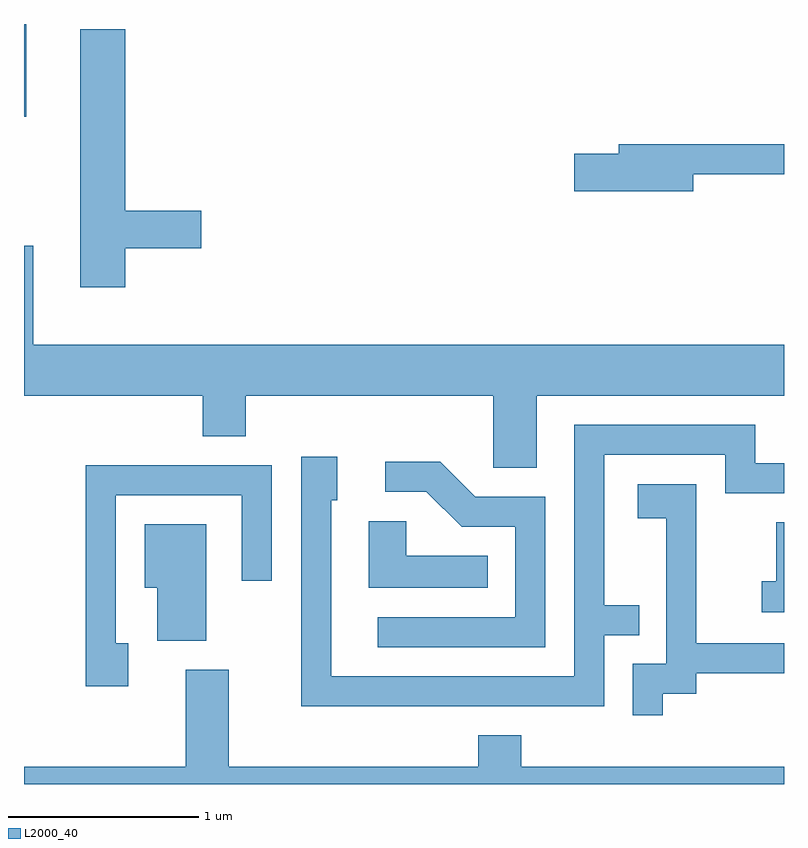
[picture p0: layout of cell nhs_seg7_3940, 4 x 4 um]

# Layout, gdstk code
import gdstk
lib = gdstk.Library(unit=1e-6, precision=1e-09)
def R(c, l, rs):  # rectangles x0, y0, x1, y1
    for r in rs: c.add(gdstk.rectangle(r[:2], r[2:], *l))
def P(c, l, *ps):  # polygons
    for p in ps: c.add(gdstk.Polygon(p, *l))
L2000_40 = (2000, 40)

nhs_seg7_3940 = lib.new_cell('nhs_seg7_3940')
R(nhs_seg7_3940, L2000_40, [(305.611,1735.763,305.624,1736.252)])
P(nhs_seg7_3940, L2000_40, [(306.144,1735.071),(306.544,1735.071),(306.544,1735.269),(306.144,1735.269),(306.144,1736.224),(305.906,1736.224),(305.906,1734.866),(306.144,1734.866)],
  [(309.134,1735.461),(309.611,1735.461),(309.611,1735.619),(308.741,1735.619),(308.741,1735.569),(308.506,1735.569),(308.506,1735.371),(309.134,1735.371)],
  [(305.611,1735.084),(305.611,1734.296),(306.551,1734.296),(306.551,1734.081),(306.779,1734.081),(306.779,1734.296),(308.081,1734.296),(308.081,1733.916),(308.309,1733.916),(308.309,1734.296),(309.611,1734.296),(309.611,1734.564),(305.659,1734.564),(305.659,1735.084)],
  [(308.664,1733.036),(308.848,1733.036),(308.848,1733.194),(308.664,1733.194),(308.664,1733.986),(309.301,1733.986),(309.301,1733.781),(309.611,1733.781),(309.611,1733.939),(309.459,1733.939),(309.459,1734.144),(308.506,1734.144),(308.506,1732.819),(307.229,1732.819),(307.229,1733.746),(307.259,1733.746),(307.259,1733.974),(307.071,1733.974),(307.071,1732.661),(308.664,1732.661)],
  [(308.354,1733.764),(307.987,1733.764),(307.802,1733.949),(307.513,1733.949),(307.513,1733.791),(307.729,1733.791),(307.914,1733.606),(308.196,1733.606),(308.196,1733.129),(307.473,1733.129),(307.473,1732.971),(308.354,1732.971)],
  [(306.159,1732.994),(306.094,1732.994),(306.094,1733.771),(306.756,1733.771),(306.756,1733.323),(306.914,1733.323),(306.914,1733.929),(305.936,1733.929),(305.936,1732.766),(306.159,1732.766)],
  [(308.974,1732.726),(309.149,1732.726),(309.149,1732.836),(309.611,1732.836),(309.611,1732.994),(309.149,1732.994),(309.149,1733.829),(308.841,1733.829),(308.841,1733.651),(308.991,1733.651),(308.991,1732.884),(308.816,1732.884),(308.816,1732.613),(308.974,1732.613)],
  [(308.053,1733.454),(307.624,1733.454),(307.624,1733.634),(307.426,1733.634),(307.426,1733.286),(308.053,1733.286)],
  [(309.611,1733.629),(309.571,1733.629),(309.571,1733.319),(309.493,1733.319),(309.493,1733.156),(309.611,1733.156)],
  [(306.569,1733.619),(306.246,1733.619),(306.246,1733.286),(306.311,1733.286),(306.311,1733.006),(306.569,1733.006)],
  [(309.611,1732.344),(308.229,1732.344),(308.229,1732.509),(308.001,1732.509),(308.001,1732.344),(306.689,1732.344),(306.689,1732.854),(306.461,1732.854),(306.461,1732.344),(305.611,1732.344),(305.611,1732.252),(309.611,1732.252)])

lib.write_gds('nhs_seg7_3940.gds')
